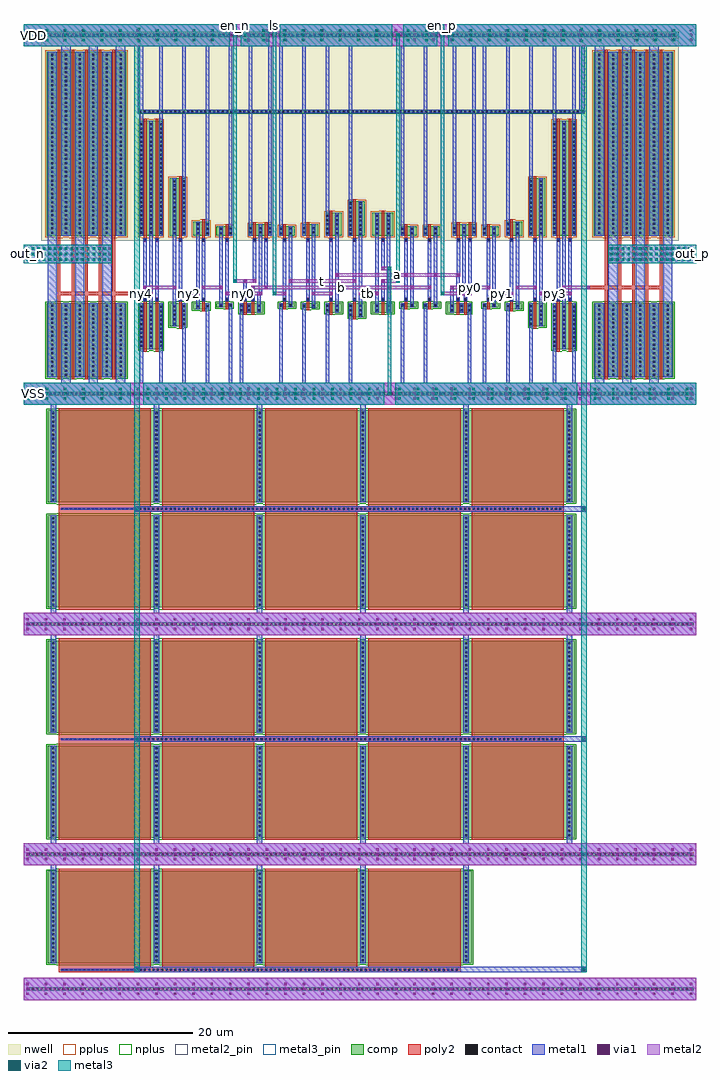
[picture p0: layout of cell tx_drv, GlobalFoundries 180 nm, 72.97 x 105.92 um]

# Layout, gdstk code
import gdstk
lib = gdstk.Library(unit=1e-6, precision=1e-09)
def R(c, l, rs):  # rectangles x0, y0, x1, y1
    for r in rs: c.add(gdstk.rectangle(r[:2], r[2:], *l))
def A(c, l, x, y, w, h, nx, ny, dx, dy):  # array of equal rectangles
    R(c, l, [(x+i*dx, y+j*dy, x+i*dx+w, y+j*dy+h) for i in range(nx) for j in range(ny)])
nwell = (21, 0)
comp = (22, 0)
poly2 = (30, 0)
pplus = (31, 0)
nplus = (32, 0)
contact = (33, 0)
metal1 = (34, 0)
via1 = (35, 0)
metal2 = (36, 0)
metal2_pin = (36, 10)
via2 = (38, 0)
metal3 = (42, 0)
metal3_pin = (42, 10)

tx_drv = lib.new_cell('tx_drv')
R(tx_drv, nwell, [(1.9,15.385,71.07,38.055)])
A(tx_drv, comp, 0.3, -51.39, 72.37, 0.38, 1, 3, 0, 25)
R(tx_drv, comp, [(0.3,-65.99,72.67,-65.61), (2.6,-63,48.6,-53), (2.6,-49.4,59.8,-39.4), (2.6,-38,59.8,-28), (2.6,-24.4,59.8,-14.4), (2.6,-13,59.8,-3), (2.5,0.6,11.1,8.6), (61.87,0.6,70.47,8.6), (12.59,3.6,15.05,8.6), (57.41,3.6,59.87,8.6), (15.85,6.1,17.58,8.6), (54.88,6.1,56.61,8.6), (35.29,7.1,37.02,8.6), (23.44,7.6,26.01,8.6), (32.76,7.6,34.49,8.6), (37.82,7.6,40.1,8.6), (45.96,7.6,48.53,8.6), (18.38,7.975,20.11,8.6), (52.35,7.975,54.08,8.6), (30.23,8.1,31.96,8.6), (20.91,8.18,22.64,8.6), (27.7,8.18,29.43,8.6), (40.9,8.18,42.63,8.6), (43.43,8.18,45.16,8.6), (49.82,8.18,51.55,8.6), (2.5,15.915,11.1,35.915), (12.59,15.915,15.05,28.415), (15.85,15.915,17.58,22.165), (18.38,15.915,20.11,17.475), (20.91,15.915,22.64,16.965), (24.44,15.915,26.9,17.165), (27.7,15.915,29.43,16.965), (30.23,15.915,31.96,17.165), (32.76,15.915,34.49,18.415), (35.29,15.915,37.02,19.665), (37.82,15.915,40.1,18.415), (40.9,15.915,42.63,16.965), (43.43,15.915,45.16,16.965), (46.56,15.915,49.02,17.165), (49.82,15.915,51.55,16.965), (52.35,15.915,54.08,17.475), (54.88,15.915,56.61,22.165), (57.41,15.915,59.87,28.415), (61.87,15.915,70.47,35.915), (12.39,29.215,60.87,29.595), (2.05,37.525,70.92,37.905)])
A(tx_drv, poly2, 3.8, -63.4, 10, 10.63, 4, 1, 11.2, 0)
A(tx_drv, poly2, 3.8, -49.63, 10, 10.63, 5, 2, 11.2, 11.23)
A(tx_drv, poly2, 3.8, -24.63, 10, 10.63, 5, 2, 11.2, 11.23)
A(tx_drv, poly2, 3.7, 0.37, 0.28, 9.105, 5, 1, 1.48, 0)
A(tx_drv, poly2, 63.07, 0.37, 0.28, 9.785, 5, 1, 1.48, 0)
A(tx_drv, poly2, 14.275, 8.86, 0.37, 0.37, 4, 2, 2.53, 6.425)
A(tx_drv, poly2, 28.105, 8.86, 0.37, 0.37, 4, 2, 2.53, 6.425)
A(tx_drv, poly2, 38.775, 8.86, 0.37, 0.37, 3, 2, 2.53, 6.425)
A(tx_drv, poly2, 50.225, 8.86, 0.37, 0.37, 4, 2, 2.53, 6.425)
A(tx_drv, poly2, 3.7, 9.845, 0.28, 26.3, 5, 1, 1.48, 0)
A(tx_drv, poly2, 63.07, 10.525, 0.28, 25.62, 5, 1, 1.48, 0)
R(tx_drv, poly2, [(3.8,-64,47.4,-63.4), (3.8,-39,58.6,-38.4), (3.8,-14,58.6,-13.4), (13.04,3.37,13.32,8.86), (14.32,3.37,14.6,8.86), (57.86,3.37,58.14,8.86), (59.14,3.37,59.42,8.86), (16.85,5.87,17.13,8.86), (55.33,5.87,55.61,8.86), (35.74,6.87,36.02,8.86), (23.89,7.37,24.17,8.86), (24.73,7.37,25.01,8.86), (33.21,7.37,33.49,8.86), (38.82,7.37,39.1,8.86), (46.96,7.37,47.24,8.86), (47.8,7.37,48.08,8.86), (19.38,7.745,19.66,8.86), (52.8,7.745,53.08,8.86), (30.68,7.87,30.96,8.86), (21.91,7.95,22.19,8.86), (28.15,7.95,28.43,8.86), (41.35,7.95,41.63,8.86), (43.88,7.95,44.16,8.86), (50.27,7.95,50.55,8.86), (12.995,8.86,13.365,9.23), (23.845,8.86,24.215,9.23), (24.685,8.86,25.055,9.23), (46.915,8.86,47.285,9.23), (47.755,8.86,48.125,9.23), (59.095,8.86,59.465,9.23), (3.7,9.475,11.885,9.845), (61.085,10.155,69.27,10.525), (12.995,15.285,13.365,15.655), (24.845,15.285,25.215,15.655), (26.125,15.285,26.495,15.655), (46.965,15.285,47.335,15.655), (48.245,15.285,48.615,15.655), (59.095,15.285,59.465,15.655), (13.04,15.655,13.32,28.645), (14.32,15.655,14.6,28.645), (16.85,15.655,17.13,22.395), (19.38,15.655,19.66,17.705), (21.91,15.655,22.19,17.195), (24.89,15.655,25.17,17.395), (26.17,15.655,26.45,17.395), (28.15,15.655,28.43,17.195), (30.68,15.655,30.96,17.395), (33.21,15.655,33.49,18.645), (35.74,15.655,36.02,19.895), (38.82,15.655,39.1,18.645), (41.35,15.655,41.63,17.195), (43.88,15.655,44.16,17.195), (47.01,15.655,47.29,17.395), (48.29,15.655,48.57,17.395), (50.27,15.655,50.55,17.195), (52.8,15.655,53.08,17.705), (55.33,15.655,55.61,22.395), (57.86,15.655,58.14,28.645), (59.14,15.655,59.42,28.645)])
A(tx_drv, pplus, 0.28, -51.41, 72.41, 0.42, 1, 3, 0, 25)
A(tx_drv, pplus, 3.47, 15.685, 0.74, 0.07, 5, 2, 1.48, 20.39)
A(tx_drv, pplus, 14.09, 15.685, 0.74, 0.07, 4, 1, 2.53, 0)
A(tx_drv, pplus, 27.92, 15.685, 0.74, 0.07, 4, 1, 2.53, 0)
A(tx_drv, pplus, 38.59, 15.685, 0.74, 0.07, 3, 1, 2.53, 0)
A(tx_drv, pplus, 50.04, 15.685, 0.74, 0.07, 4, 1, 2.53, 0)
A(tx_drv, pplus, 62.84, 15.685, 0.74, 0.07, 5, 2, 1.48, 20.39)
R(tx_drv, pplus, [(0.28,-66.01,72.69,-65.59), (12.81,15.685,13.55,15.755), (24.66,15.685,25.4,15.755), (25.94,15.685,26.68,15.755), (46.78,15.685,47.52,15.755), (48.06,15.685,48.8,15.755), (58.91,15.685,59.65,15.755), (2.34,15.755,11.26,36.075), (12.43,15.755,15.21,28.575), (15.69,15.755,17.74,22.325), (18.22,15.755,20.27,17.635), (20.75,15.755,22.8,17.125), (24.28,15.755,27.06,17.325), (27.54,15.755,29.59,17.125), (30.07,15.755,32.12,17.325), (32.6,15.755,34.65,18.575), (35.13,15.755,37.18,19.825), (37.66,15.755,40.26,18.575), (40.74,15.755,42.79,17.125), (43.27,15.755,45.32,17.125), (46.4,15.755,49.18,17.325), (49.66,15.755,51.71,17.125), (52.19,15.755,54.24,17.635), (54.72,15.755,56.77,22.325), (57.25,15.755,60.03,28.575), (61.71,15.755,70.63,36.075), (21.68,17.125,22.42,17.195), (27.92,17.125,28.66,17.195), (41.12,17.125,41.86,17.195), (43.65,17.125,44.39,17.195), (50.04,17.125,50.78,17.195), (24.66,17.325,25.4,17.395), (25.94,17.325,26.68,17.395), (30.45,17.325,31.19,17.395), (46.78,17.325,47.52,17.395), (48.06,17.325,48.8,17.395), (19.15,17.635,19.89,17.705), (52.57,17.635,53.31,17.705), (32.98,18.575,33.72,18.645), (38.59,18.575,39.33,18.645), (35.51,19.825,36.25,19.895), (16.62,22.325,17.36,22.395), (55.1,22.325,55.84,22.395), (12.81,28.575,13.55,28.645), (14.09,28.575,14.83,28.645), (57.63,28.575,58.37,28.645), (58.91,28.575,59.65,28.645)])
A(tx_drv, nplus, 3.57, -63.23, 10.46, 0.07, 4, 2, 11.2, 10.39)
A(tx_drv, nplus, 3.57, -49.63, 10.46, 0.07, 5, 2, 11.2, 10.39)
A(tx_drv, nplus, 3.57, -38.23, 10.46, 0.07, 5, 2, 11.2, 10.39)
A(tx_drv, nplus, 3.57, -24.63, 10.46, 0.07, 5, 2, 11.2, 10.39)
A(tx_drv, nplus, 3.57, -13.23, 10.46, 0.07, 5, 2, 11.2, 10.39)
A(tx_drv, nplus, 3.47, 0.37, 0.74, 0.07, 5, 2, 1.48, 8.39)
A(tx_drv, nplus, 62.84, 0.37, 0.74, 0.07, 5, 2, 1.48, 8.39)
A(tx_drv, nplus, 14.09, 8.76, 0.74, 0.07, 4, 1, 2.53, 0)
A(tx_drv, nplus, 27.92, 8.76, 0.74, 0.07, 4, 1, 2.53, 0)
A(tx_drv, nplus, 38.59, 8.76, 0.74, 0.07, 3, 1, 2.53, 0)
A(tx_drv, nplus, 50.04, 8.76, 0.74, 0.07, 4, 1, 2.53, 0)
R(tx_drv, nplus, [(2.44,-63.16,48.76,-52.84), (2.44,-49.56,59.96,-39.24), (2.44,-38.16,59.96,-27.84), (2.44,-24.56,59.96,-14.24), (2.44,-13.16,59.96,-2.84), (2.34,0.44,11.26,8.76), (61.71,0.44,70.63,8.76), (12.81,3.37,13.55,3.44), (14.09,3.37,14.83,3.44), (57.63,3.37,58.37,3.44), (58.91,3.37,59.65,3.44), (12.43,3.44,15.21,8.76), (57.25,3.44,60.03,8.76), (16.62,5.87,17.36,5.94), (55.1,5.87,55.84,5.94), (15.69,5.94,17.74,8.76), (54.72,5.94,56.77,8.76), (35.51,6.87,36.25,6.94), (35.13,6.94,37.18,8.76), (23.66,7.37,25.24,7.44), (32.98,7.37,33.72,7.44), (38.59,7.37,39.33,7.44), (46.73,7.37,48.31,7.44), (23.28,7.44,26.17,8.76), (32.6,7.44,34.65,8.76), (37.66,7.44,40.26,8.76), (45.8,7.44,48.69,8.76), (19.15,7.745,19.89,7.815), (52.57,7.745,53.31,7.815), (18.22,7.815,20.27,8.76), (52.19,7.815,54.24,8.76), (30.45,7.87,31.19,7.94), (30.07,7.94,32.12,8.76), (21.68,7.95,22.42,8.02), (27.92,7.95,28.66,8.02), (41.12,7.95,41.86,8.02), (43.65,7.95,44.39,8.02), (50.04,7.95,50.78,8.02), (20.75,8.02,22.8,8.76), (27.54,8.02,29.59,8.76), (40.74,8.02,42.79,8.76), (43.27,8.02,45.32,8.76), (49.66,8.02,51.71,8.76), (12.81,8.76,13.55,8.83), (23.66,8.76,25.24,8.83), (46.73,8.76,48.31,8.83), (58.91,8.76,59.65,8.83), (12.37,29.195,60.89,29.615), (1.89,37.365,2.49,37.465), (70.48,37.365,71.08,37.465), (1.89,37.465,71.08,38.065)])
A(tx_drv, contact, 0.42, -65.91, 0.22, 0.22, 154, 2, 0.47, 14.6)
A(tx_drv, contact, 4.105, -63.81, 0.22, 0.22, 92, 1, 0.47, 0)
A(tx_drv, contact, 3.09, -62.81, 0.22, 0.22, 5, 21, 11.2, 0.47)
A(tx_drv, contact, 3.09, -49.21, 0.22, 0.22, 6, 21, 11.2, 0.47)
A(tx_drv, contact, 4.065, -38.81, 0.22, 0.22, 116, 2, 0.47, 25)
A(tx_drv, contact, 3.09, -37.81, 0.22, 0.22, 6, 21, 11.2, 0.47)
A(tx_drv, contact, 0.42, -26.31, 0.22, 0.22, 154, 2, 0.47, 25)
A(tx_drv, contact, 3.09, -24.21, 0.22, 0.22, 6, 21, 11.2, 0.47)
A(tx_drv, contact, 3.09, -12.81, 0.22, 0.22, 6, 21, 11.2, 0.47)
A(tx_drv, contact, 2.99, 0.73, 0.22, 0.22, 6, 17, 1.48, 0.47)
A(tx_drv, contact, 62.36, 0.73, 0.22, 0.22, 6, 17, 1.48, 0.47)
A(tx_drv, contact, 12.665, 3.875, 0.22, 0.22, 3, 10, 1.045, 0.47)
A(tx_drv, contact, 57.485, 3.875, 0.22, 0.22, 3, 10, 1.045, 0.47)
A(tx_drv, contact, 16.24, 6.3, 0.22, 0.22, 1, 5, 0, 0.47)
A(tx_drv, contact, 17.285, 6.3, 0.22, 0.22, 1, 5, 0, 0.47)
A(tx_drv, contact, 54.955, 6.3, 0.22, 0.22, 1, 5, 0, 0.47)
A(tx_drv, contact, 56, 6.3, 0.22, 0.22, 1, 5, 0, 0.47)
A(tx_drv, contact, 35.365, 7.27, 0.22, 0.22, 1, 3, 0, 0.47)
A(tx_drv, contact, 36.41, 7.27, 0.22, 0.22, 1, 3, 0, 0.47)
A(tx_drv, contact, 14.35, 8.935, 0.22, 0.22, 4, 2, 2.53, 6.425)
A(tx_drv, contact, 28.18, 8.935, 0.22, 0.22, 4, 2, 2.53, 6.425)
A(tx_drv, contact, 38.85, 8.935, 0.22, 0.22, 3, 2, 2.53, 6.425)
A(tx_drv, contact, 50.3, 8.935, 0.22, 0.22, 4, 2, 2.53, 6.425)
A(tx_drv, contact, 35.365, 16.035, 0.22, 0.22, 1, 8, 0, 0.47)
A(tx_drv, contact, 36.41, 16.035, 0.22, 0.22, 1, 8, 0, 0.47)
A(tx_drv, contact, 16.24, 16.11, 0.22, 0.22, 1, 13, 0, 0.47)
A(tx_drv, contact, 17.285, 16.11, 0.22, 0.22, 1, 13, 0, 0.47)
A(tx_drv, contact, 54.955, 16.11, 0.22, 0.22, 1, 13, 0, 0.47)
A(tx_drv, contact, 56, 16.11, 0.22, 0.22, 1, 13, 0, 0.47)
A(tx_drv, contact, 18.77, 16.115, 0.22, 0.22, 1, 3, 0, 0.47)
A(tx_drv, contact, 19.815, 16.115, 0.22, 0.22, 1, 3, 0, 0.47)
A(tx_drv, contact, 32.835, 16.115, 0.22, 0.22, 1, 5, 0, 0.47)
A(tx_drv, contact, 33.88, 16.115, 0.22, 0.22, 1, 5, 0, 0.47)
A(tx_drv, contact, 38.21, 16.115, 0.22, 0.22, 1, 5, 0, 0.47)
A(tx_drv, contact, 39.49, 16.115, 0.22, 0.22, 1, 5, 0, 0.47)
A(tx_drv, contact, 52.425, 16.115, 0.22, 0.22, 1, 3, 0, 0.47)
A(tx_drv, contact, 53.47, 16.115, 0.22, 0.22, 1, 3, 0, 0.47)
A(tx_drv, contact, 2.99, 16.17, 0.22, 0.22, 6, 42, 1.48, 0.47)
A(tx_drv, contact, 62.36, 16.17, 0.22, 0.22, 6, 42, 1.48, 0.47)
A(tx_drv, contact, 12.665, 16.18, 0.22, 0.22, 3, 26, 1.045, 0.47)
A(tx_drv, contact, 57.485, 16.18, 0.22, 0.22, 3, 26, 1.045, 0.47)
A(tx_drv, contact, 24.515, 16.195, 0.22, 0.22, 3, 2, 1.045, 0.47)
A(tx_drv, contact, 46.635, 16.195, 0.22, 0.22, 3, 2, 1.045, 0.47)
A(tx_drv, contact, 12.55, 29.295, 0.22, 0.22, 103, 1, 0.47, 0)
A(tx_drv, contact, 2.3, 37.605, 0.22, 0.22, 146, 1, 0.47, 0)
R(tx_drv, contact, [(23.515,7.755,23.735,7.975), (24.34,7.755,24.56,7.975), (25.4,7.755,25.62,7.975), (32.835,7.755,33.055,7.975), (33.88,7.755,34.1,7.975), (38.21,7.755,38.43,7.975), (39.49,7.755,39.71,7.975), (46.35,7.755,46.57,7.975), (47.41,7.755,47.63,7.975), (48.235,7.755,48.455,7.975), (18.77,8.175,18.99,8.395), (19.815,8.175,20.035,8.395), (52.425,8.175,52.645,8.395), (53.47,8.175,53.69,8.395), (23.515,8.225,23.735,8.445), (24.34,8.225,24.56,8.445), (25.4,8.225,25.62,8.445), (32.835,8.225,33.055,8.445), (33.88,8.225,34.1,8.445), (38.21,8.225,38.43,8.445), (39.49,8.225,39.71,8.445), (46.35,8.225,46.57,8.445), (47.41,8.225,47.63,8.445), (48.235,8.225,48.455,8.445), (30.305,8.24,30.525,8.46), (31.35,8.24,31.57,8.46), (21.3,8.28,21.52,8.5), (22.345,8.28,22.565,8.5), (27.775,8.28,27.995,8.5), (28.82,8.28,29.04,8.5), (40.975,8.28,41.195,8.5), (42.02,8.28,42.24,8.5), (43.505,8.28,43.725,8.5), (44.55,8.28,44.77,8.5), (49.895,8.28,50.115,8.5), (50.94,8.28,51.16,8.5), (13.07,8.935,13.29,9.155), (23.92,8.935,24.14,9.155), (24.76,8.935,24.98,9.155), (46.99,8.935,47.21,9.155), (47.83,8.935,48.05,9.155), (59.17,8.935,59.39,9.155), (11.59,9.55,11.81,9.77), (61.16,10.23,61.38,10.45), (13.07,15.36,13.29,15.58), (24.92,15.36,25.14,15.58), (26.2,15.36,26.42,15.58), (47.04,15.36,47.26,15.58), (48.32,15.36,48.54,15.58), (59.17,15.36,59.39,15.58), (21.3,16.095,21.52,16.315), (22.345,16.095,22.565,16.315), (27.775,16.095,27.995,16.315), (28.82,16.095,29.04,16.315), (40.975,16.095,41.195,16.315), (42.02,16.095,42.24,16.315), (43.505,16.095,43.725,16.315), (44.55,16.095,44.77,16.315), (49.895,16.095,50.115,16.315), (50.94,16.095,51.16,16.315), (30.305,16.195,30.525,16.415), (31.35,16.195,31.57,16.415), (21.3,16.565,21.52,16.785), (22.345,16.565,22.565,16.785), (27.775,16.565,27.995,16.785), (28.82,16.565,29.04,16.785), (40.975,16.565,41.195,16.785), (42.02,16.565,42.24,16.785), (43.505,16.565,43.725,16.785), (44.55,16.565,44.77,16.785), (49.895,16.565,50.115,16.785), (50.94,16.565,51.16,16.785), (30.305,16.665,30.525,16.885), (31.35,16.665,31.57,16.885)])
A(tx_drv, metal1, 4, -63.815, 57.07, 0.23, 1, 3, 0, 25)
A(tx_drv, metal1, 2.9, -63.005, 0.6, 10.605, 5, 1, 11.2, 0)
A(tx_drv, metal1, 0, -52.4, 72.97, 2.4, 1, 3, 0, 25)
A(tx_drv, metal1, 2.9, -50, 0.6, 10.605, 6, 2, 11.2, 11.995)
A(tx_drv, metal1, 2.9, -25, 0.6, 10.605, 6, 2, 11.2, 11.995)
A(tx_drv, metal1, 4.08, 0, 1, 8.605, 3, 1, 2.96, 0)
A(tx_drv, metal1, 14.675, 0, 0.38, 8.605, 4, 1, 2.53, 0)
A(tx_drv, metal1, 27.695, 0, 0.38, 8.605, 4, 1, 2.53, 0)
A(tx_drv, metal1, 49.815, 0, 0.38, 8.605, 4, 1, 2.53, 0)
A(tx_drv, metal1, 61.97, 0, 1, 8.605, 3, 1, 2.96, 0)
A(tx_drv, metal1, 2.6, 0.595, 1, 35.325, 3, 1, 2.96, 0)
A(tx_drv, metal1, 63.45, 0.595, 1, 35.325, 3, 1, 2.96, 0)
A(tx_drv, metal1, 14.27, 8.855, 0.38, 6.805, 4, 1, 2.53, 0)
A(tx_drv, metal1, 28.1, 8.855, 0.38, 6.805, 4, 1, 2.53, 0)
A(tx_drv, metal1, 50.22, 8.855, 0.38, 6.805, 4, 1, 2.53, 0)
A(tx_drv, metal1, 4.08, 15.91, 1, 20.605, 3, 1, 2.96, 0)
A(tx_drv, metal1, 14.675, 15.91, 0.38, 13.305, 4, 1, 2.53, 0)
A(tx_drv, metal1, 27.695, 15.91, 0.38, 13.305, 4, 1, 2.53, 0)
A(tx_drv, metal1, 49.815, 15.91, 0.38, 13.305, 4, 1, 2.53, 0)
A(tx_drv, metal1, 61.97, 15.91, 1, 20.605, 3, 1, 2.96, 0)
A(tx_drv, metal1, 14.675, 29.595, 0.38, 6.92, 4, 1, 2.53, 0)
A(tx_drv, metal1, 27.695, 29.595, 0.38, 6.92, 4, 1, 2.53, 0)
A(tx_drv, metal1, 49.815, 29.595, 0.38, 6.92, 4, 1, 2.53, 0)
R(tx_drv, metal1, [(0,-67,72.97,-64.6), (11.99,-64,61.07,-63.815), (11.99,-63.585,61.07,-63.4), (11.99,-39,61.07,-38.815), (11.99,-38.585,61.07,-38.4), (11.99,-14,61.07,-13.815), (11.99,-13.585,61.07,-13.4), (12.585,0,12.965,8.605), (23.435,0,23.815,8.605), (40.895,0,41.275,8.605), (43.425,0,43.805,8.605), (48.155,0,48.535,8.605), (59.495,0,59.875,8.605), (13.63,3.595,14.01,28.42), (58.45,3.595,58.83,28.42), (16.16,6.095,16.54,22.17), (55.92,6.095,56.3,22.17), (36.33,7.095,36.71,19.67), (24.26,7.595,24.64,8.605), (25.32,7.595,25.7,9.47), (33.8,7.595,34.18,18.42), (38.13,7.595,38.51,18.42), (39.41,7.595,39.79,18.42), (46.27,7.595,46.65,10.53), (47.33,7.595,47.71,8.605), (18.69,7.97,19.07,17.48), (53.39,7.97,53.77,17.48), (31.27,8.095,31.65,17.17), (21.22,8.175,21.6,16.97), (28.74,8.175,29.12,16.97), (41.94,8.175,42.32,16.97), (44.47,8.175,44.85,16.97), (50.86,8.175,51.24,16.97), (12.99,8.855,13.37,15.66), (23.84,8.855,24.22,11.21), (24.68,8.855,25.06,10.53), (38.77,8.855,39.15,11.21), (41.3,8.855,41.68,15.66), (43.83,8.855,44.21,15.66), (46.91,8.855,47.29,11.51), (47.75,8.855,48.13,9.47), (59.09,8.855,59.47,15.66), (11.51,9.47,11.89,9.85), (25.32,9.47,25.86,9.85), (47.75,9.47,48.62,9.85), (25.48,9.85,25.86,17.17), (48.24,9.85,48.62,15.66), (26.12,10.15,26.5,15.66), (47.6,10.15,47.98,17.17), (61.08,10.15,61.46,10.53), (24.84,10.83,25.22,15.66), (46.91,11.51,47.34,11.89), (46.96,11.89,47.34,15.66), (38.77,12.19,39.15,15.66), (12.585,15.91,12.965,29.215), (24.435,15.91,24.815,29.215), (26.525,15.91,26.905,29.215), (40.895,15.91,41.275,29.215), (43.425,15.91,43.805,29.215), (46.555,15.91,46.935,29.215), (48.645,15.91,49.025,29.215), (59.495,15.91,59.875,29.215), (12.39,29.215,60.87,29.595), (12.39,29.595,12.99,36.515), (24.435,29.595,24.815,36.515), (26.525,29.595,26.905,36.515), (40.895,29.595,41.275,36.515), (43.425,29.595,43.805,36.515), (46.555,29.595,46.935,36.515), (48.645,29.595,49.025,36.515), (59.495,29.595,59.875,36.515), (60.27,29.595,60.87,36.515), (0,36.515,72.97,38.915)])
A(tx_drv, via1, 0.27, -66.45, 0.26, 0.26, 37, 3, 2, 0.52)
A(tx_drv, via1, 12.16, -63.83, 0.26, 0.26, 1, 3, 0, 25)
A(tx_drv, via1, 60.64, -63.83, 0.26, 0.26, 1, 3, 0, 25)
A(tx_drv, via1, 0.27, -51.85, 0.26, 0.26, 37, 3, 2, 0.52)
A(tx_drv, via1, 0.27, -26.85, 0.26, 0.26, 37, 3, 2, 0.52)
A(tx_drv, via1, 0.27, -1.85, 0.26, 0.26, 37, 3, 2, 0.52)
A(tx_drv, via1, 2.7, 13.24, 0.26, 0.26, 1, 3, 0, 0.6)
A(tx_drv, via1, 3.24, 13.24, 0.26, 0.26, 1, 3, 0, 0.6)
A(tx_drv, via1, 5.66, 13.24, 0.26, 0.26, 1, 3, 0, 0.6)
A(tx_drv, via1, 6.2, 13.24, 0.26, 0.26, 1, 3, 0, 0.6)
A(tx_drv, via1, 8.62, 13.24, 0.26, 0.26, 1, 3, 0, 0.6)
A(tx_drv, via1, 9.16, 13.24, 0.26, 0.26, 1, 3, 0, 0.6)
A(tx_drv, via1, 63.55, 13.24, 0.26, 0.26, 1, 3, 0, 0.6)
A(tx_drv, via1, 64.09, 13.24, 0.26, 0.26, 1, 3, 0, 0.6)
A(tx_drv, via1, 66.51, 13.24, 0.26, 0.26, 1, 3, 0, 0.6)
A(tx_drv, via1, 67.05, 13.24, 0.26, 0.26, 1, 3, 0, 0.6)
A(tx_drv, via1, 69.47, 13.24, 0.26, 0.26, 1, 3, 0, 0.6)
A(tx_drv, via1, 70.01, 13.24, 0.26, 0.26, 1, 3, 0, 0.6)
A(tx_drv, via1, 0.27, 37.065, 0.26, 0.26, 37, 3, 2, 0.52)
R(tx_drv, via1, [(11.57,9.53,11.83,9.79), (13.69,9.53,13.95,9.79), (16.86,9.53,17.12,9.79), (18.75,9.53,19.01,9.79), (21.92,9.53,22.18,9.79), (25.54,9.53,25.8,9.79), (28.16,9.53,28.42,9.79), (31.33,9.53,31.59,9.79), (33.22,9.53,33.48,9.79), (36.39,9.53,36.65,9.79), (38.19,9.53,38.45,9.79), (48.3,9.53,48.56,9.79), (50.92,9.53,51.18,9.79), (52.81,9.53,53.07,9.79), (55.98,9.53,56.24,9.79), (57.87,9.53,58.13,9.79), (59.15,9.53,59.41,9.79), (13.05,10.21,13.31,10.47), (14.33,10.21,14.59,10.47), (16.22,10.21,16.48,10.47), (19.39,10.21,19.65,10.47), (21.28,10.21,21.54,10.47), (24.74,10.21,25,10.47), (26.18,10.21,26.44,10.47), (39.47,10.21,39.73,10.47), (42,10.21,42.26,10.47), (43.89,10.21,44.15,10.47), (46.33,10.21,46.59,10.47), (47.66,10.21,47.92,10.47), (50.28,10.21,50.54,10.47), (53.45,10.21,53.71,10.47), (55.34,10.21,55.6,10.47), (58.51,10.21,58.77,10.47), (61.14,10.21,61.4,10.47), (23.9,10.89,24.16,11.15), (24.9,10.89,25.16,11.15), (28.8,10.89,29.06,11.15), (30.69,10.89,30.95,11.15), (35.75,10.89,36.01,11.15), (38.83,10.89,39.09,11.15), (33.86,11.57,34.12,11.83), (41.36,11.57,41.62,11.83), (44.53,11.57,44.79,11.83), (47.02,11.57,47.28,11.83), (38.83,12.25,39.09,12.51)])
A(tx_drv, metal2, 12.1, -63.89, 0.38, 0.38, 1, 3, 0, 25)
A(tx_drv, metal2, 60.58, -63.89, 0.38, 0.38, 1, 3, 0, 25)
A(tx_drv, metal2, 0, -52.4, 72.97, 2.4, 1, 3, 0, 25)
R(tx_drv, metal2, [(0,-67,72.97,-64.6), (11.51,9.47,14.01,9.85), (16.8,9.47,19.07,9.85), (21.86,9.47,25.86,9.85), (27.01,9.47,28.48,9.85), (31.27,9.47,33.54,9.85), (36.33,9.47,38.51,9.85), (45.27,9.47,48.62,9.85), (50.86,9.47,53.13,9.85), (55.92,9.47,59.47,9.85), (12.99,10.15,16.54,10.53), (19.33,10.15,21.6,10.53), (24.68,10.15,44.21,10.53), (46.27,10.15,50.6,10.53), (53.39,10.15,55.66,10.53), (58.45,10.15,61.46,10.53), (22.75,10.83,25.22,11.21), (28.74,10.83,36.07,11.21), (38.77,10.83,40.79,11.21), (33.8,11.51,47.34,11.89), (38.77,12.19,39.89,12.57), (0,12.97,9.52,14.97), (63.45,12.97,72.97,14.97), (0,36.515,72.97,38.915)])
R(tx_drv, metal2_pin, [(0.95,-1.25,1.05,-1.15), (0.95,37.665,1.05,37.765)])
A(tx_drv, via2, 12.16, -63.83, 0.26, 0.26, 1, 3, 0, 25)
A(tx_drv, via2, 60.64, -63.83, 0.26, 0.26, 1, 3, 0, 25)
A(tx_drv, via2, 0.37, -1.85, 0.26, 0.26, 6, 3, 2, 0.52)
A(tx_drv, via2, 13.36, -1.85, 0.26, 0.26, 13, 3, 2, 0.52)
A(tx_drv, via2, 40.66, -1.85, 0.26, 0.26, 10, 3, 2, 0.52)
A(tx_drv, via2, 61.84, -1.85, 0.26, 0.26, 6, 3, 2, 0.52)
A(tx_drv, via2, 0.27, 13.24, 0.26, 0.26, 15, 3, 0.6, 0.6)
A(tx_drv, via2, 63.72, 13.24, 0.26, 0.26, 15, 3, 0.6, 0.6)
A(tx_drv, via2, 0.37, 37.065, 0.26, 0.26, 6, 2, 2, 1.04)
A(tx_drv, via2, 14.37, 37.065, 0.26, 0.26, 4, 2, 2, 1.04)
A(tx_drv, via2, 23.9, 37.065, 0.26, 0.26, 1, 3, 0, 0.52)
A(tx_drv, via2, 25.9, 37.065, 0.26, 0.26, 1, 3, 0, 0.52)
A(tx_drv, via2, 28.16, 37.065, 0.26, 0.26, 6, 3, 2, 0.52)
A(tx_drv, via2, 41.56, 37.065, 0.26, 0.26, 1, 3, 0, 0.52)
A(tx_drv, via2, 43.56, 37.065, 0.26, 0.26, 1, 3, 0, 0.52)
A(tx_drv, via2, 46.42, 37.065, 0.26, 0.26, 7, 2, 2, 1.04)
A(tx_drv, via2, 62.42, 37.065, 0.26, 0.26, 5, 2, 2, 1.04)
A(tx_drv, via2, 0.37, 37.585, 0.26, 0.26, 11, 1, 2, 0)
A(tx_drv, via2, 46.42, 37.585, 0.26, 0.26, 13, 1, 2, 0)
R(tx_drv, via2, [(39.57,-1.33,39.83,-1.07), (27.07,9.53,27.33,9.79), (45.33,9.53,45.59,9.79), (22.81,10.89,23.07,11.15), (40.47,10.89,40.73,11.15), (39.57,12.25,39.83,12.51), (12.37,36.945,12.63,37.205), (60.42,36.945,60.68,37.205), (40.47,37.585,40.73,37.845), (12.37,38.225,12.63,38.485), (60.42,38.225,60.68,38.485)])
R(tx_drv, metal3, [(11.99,-64,12.59,36.515), (60.47,-64,61.07,36.515), (0,-2.4,11.59,0), (12.99,-2.4,39.11,0), (40.29,-2.4,60.07,0), (61.47,-2.4,72.97,0), (39.51,-1.39,39.89,12.57), (27.01,9.47,27.39,38.915), (45.27,9.47,45.65,38.915), (22.75,10.83,23.13,38.915), (40.41,10.83,40.79,37.905), (0,12.97,9.52,14.97), (63.45,12.97,72.97,14.97), (0,36.515,22.35,38.915), (23.53,36.515,26.61,38.915), (27.79,36.515,40.01,38.915), (41.19,36.515,44.87,38.915), (46.05,36.515,72.97,38.915)])
R(tx_drv, metal3_pin, [(0.35,13.92,0.45,14.02), (72.52,13.92,72.62,14.02), (22.89,38.665,22.99,38.765), (27.15,38.665,27.25,38.765), (45.41,38.665,45.51,38.765)])
tx_drv.add(gdstk.Label('ny4', (12.76,9.66), layer=36, texttype=0))
tx_drv.add(gdstk.Label('ny3', (14.765,10.34), layer=36, texttype=0))
tx_drv.add(gdstk.Label('ny2', (17.935,9.66), layer=36, texttype=0))
tx_drv.add(gdstk.Label('ny1', (20.465,10.34), layer=36, texttype=0))
tx_drv.add(gdstk.Label('ny0', (23.86,9.66), layer=36, texttype=0))
tx_drv.add(gdstk.Label('b', (34.445,10.34), layer=36, texttype=0))
tx_drv.add(gdstk.Label('t', (32.405,11.02), layer=36, texttype=0))
tx_drv.add(gdstk.Label('ta', (32.405,9.66), layer=36, texttype=0))
tx_drv.add(gdstk.Label('a', (40.57,11.7), layer=36, texttype=0))
tx_drv.add(gdstk.Label('tb', (37.42,9.66), layer=36, texttype=0))
tx_drv.add(gdstk.Label('tgh', (39.78,11.02), layer=36, texttype=0))
tx_drv.add(gdstk.Label('tgl', (39.33,12.38), layer=36, texttype=0))
tx_drv.add(gdstk.Label('py0', (48.435,10.34), layer=36, texttype=0))
tx_drv.add(gdstk.Label('py1', (51.995,9.66), layer=36, texttype=0))
tx_drv.add(gdstk.Label('py2', (54.525,10.34), layer=36, texttype=0))
tx_drv.add(gdstk.Label('py3', (57.695,9.66), layer=36, texttype=0))
tx_drv.add(gdstk.Label('py4', (59.955,10.34), layer=36, texttype=0))
tx_drv.add(gdstk.Label('VSS', (1,-1.2), layer=36, texttype=10))
tx_drv.add(gdstk.Label('VDD', (1,37.715), layer=36, texttype=10))
tx_drv.add(gdstk.Label('out_n', (0.4,13.97), layer=42, texttype=10))
tx_drv.add(gdstk.Label('out_p', (72.57,13.97), layer=42, texttype=10))
tx_drv.add(gdstk.Label('ls', (27.2,38.715), layer=42, texttype=10))
tx_drv.add(gdstk.Label('en_n', (22.94,38.715), layer=42, texttype=10))
tx_drv.add(gdstk.Label('en_p', (45.46,38.715), layer=42, texttype=10))

lib.write_gds('tx_drv.gds')
